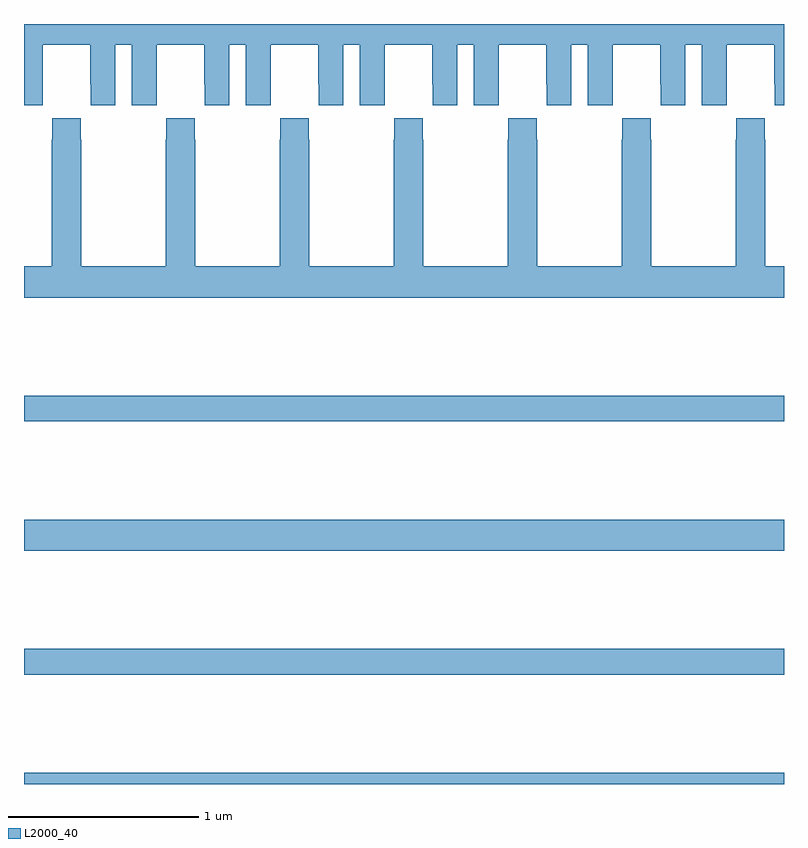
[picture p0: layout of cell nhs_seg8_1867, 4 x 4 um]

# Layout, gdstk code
import gdstk
lib = gdstk.Library(unit=1e-6, precision=1e-09)
def R(c, l, rs):  # rectangles x0, y0, x1, y1
    for r in rs: c.add(gdstk.rectangle(r[:2], r[2:], *l))
def P(c, l, *ps):  # polygons
    for p in ps: c.add(gdstk.Polygon(p, *l))
L2000_40 = (2000, 40)

nhs_seg8_1867 = lib.new_cell('nhs_seg8_1867')
R(nhs_seg8_1867, L2000_40, [(229,1153.9,233,1153.96), (229,1154.476,233,1154.612), (229,1155.128,233,1155.292), (229,1155.808,233,1155.944)])
P(nhs_seg8_1867, L2000_40, [(229.098,1157.584),(229.099,1157.584),(229.099,1157.792),(229.349,1157.792),(229.349,1157.584),(229.35,1157.584),(229.35,1157.472),(229.48,1157.472),(229.48,1157.792),(229.568,1157.792),(229.568,1157.472),(229.698,1157.472),(229.698,1157.584),(229.699,1157.584),(229.699,1157.792),(229.949,1157.792),(229.949,1157.584),(229.95,1157.584),(229.95,1157.472),(230.08,1157.472),(230.08,1157.792),(230.168,1157.792),(230.168,1157.472),(230.298,1157.472),(230.298,1157.584),(230.299,1157.584),(230.299,1157.792),(230.549,1157.792),(230.549,1157.584),(230.55,1157.584),(230.55,1157.472),(230.68,1157.472),(230.68,1157.792),(230.768,1157.792),(230.768,1157.472),(230.898,1157.472),(230.898,1157.584),(230.899,1157.584),(230.899,1157.792),(231.149,1157.792),(231.149,1157.584),(231.15,1157.584),(231.15,1157.472),(231.28,1157.472),(231.28,1157.792),(231.368,1157.792),(231.368,1157.472),(231.498,1157.472),(231.498,1157.584),(231.499,1157.584),(231.499,1157.792),(231.749,1157.792),(231.749,1157.584),(231.75,1157.584),(231.75,1157.472),(231.88,1157.472),(231.88,1157.792),(231.968,1157.792),(231.968,1157.472),(232.098,1157.472),(232.098,1157.584),(232.099,1157.584),(232.099,1157.792),(232.349,1157.792),(232.349,1157.584),(232.35,1157.584),(232.35,1157.472),(232.48,1157.472),(232.48,1157.792),(232.568,1157.792),(232.568,1157.472),(232.698,1157.472),(232.698,1157.584),(232.699,1157.584),(232.699,1157.792),(232.949,1157.792),(232.949,1157.584),(232.95,1157.584),(232.95,1157.472),(233,1157.472),(233,1157.9),(229,1157.9),(229,1157.472),(229.098,1157.472)],
  [(233,1156.624),(232.902,1156.624),(232.902,1157.291),(232.899,1157.291),(232.899,1157.404),(232.749,1157.404),(232.749,1157.291),(232.747,1157.291),(232.747,1156.624),(232.302,1156.624),(232.302,1157.291),(232.299,1157.291),(232.299,1157.404),(232.149,1157.404),(232.149,1157.291),(232.147,1157.291),(232.147,1156.624),(231.702,1156.624),(231.702,1157.291),(231.699,1157.291),(231.699,1157.404),(231.549,1157.404),(231.549,1157.291),(231.547,1157.291),(231.547,1156.624),(231.102,1156.624),(231.102,1157.291),(231.099,1157.291),(231.099,1157.404),(230.949,1157.404),(230.949,1157.291),(230.947,1157.291),(230.947,1156.624),(230.502,1156.624),(230.502,1157.291),(230.499,1157.291),(230.499,1157.404),(230.349,1157.404),(230.349,1157.291),(230.347,1157.291),(230.347,1156.624),(229.902,1156.624),(229.902,1157.291),(229.899,1157.291),(229.899,1157.404),(229.749,1157.404),(229.749,1157.291),(229.747,1157.291),(229.747,1156.624),(229.302,1156.624),(229.302,1157.291),(229.299,1157.291),(229.299,1157.404),(229.149,1157.404),(229.149,1157.291),(229.147,1157.291),(229.147,1156.624),(229,1156.624),(229,1156.46),(233,1156.46)])

lib.write_gds('nhs_seg8_1867.gds')
